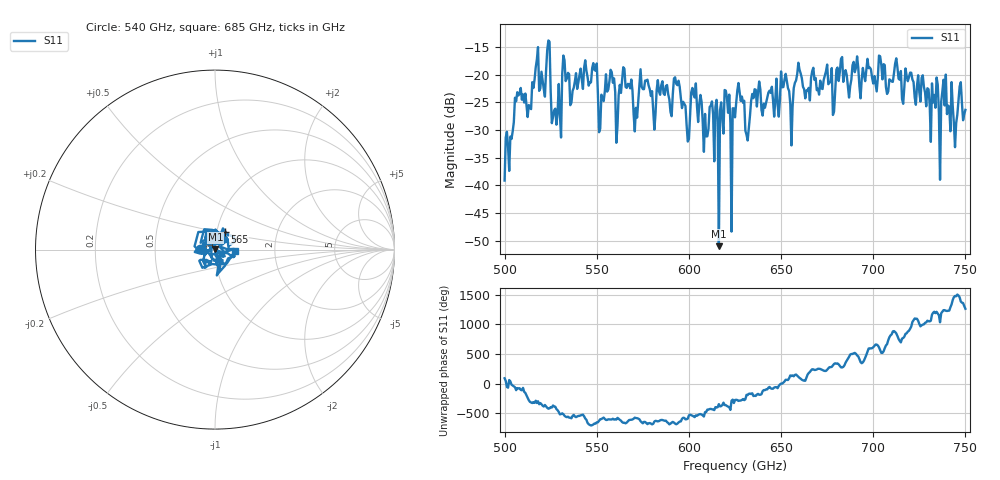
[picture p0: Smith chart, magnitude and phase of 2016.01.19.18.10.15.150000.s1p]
!Created with skrf (http://scikit-rf.org).
# GHz S RI R 50.0
!freq ReS11 ImS11
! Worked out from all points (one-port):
!   401 points, 500 GHz to 750 GHz, reference 50 ohm
!   lowest |S11| = -51.0 dB at 616.2 GHz (marker M1), VSWR 1.01, Z = 50.3 + j0.0777 ohm
!   |S11| at or under -10 dB: start of sweep to end of sweep
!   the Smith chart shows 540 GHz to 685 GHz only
!   S11 on the Smith chart (normalised r, x): 540 GHz: 0.84, +0.01; 565 GHz: 1.09, +0.22; 685 GHz: 1.25, -0.02
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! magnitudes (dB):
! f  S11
! 500 GHz  -39.1
! 506.9 GHz  -23.2
! 513.1 GHz  -25.5
! 516.9 GHz  -18.7
! 523.8 GHz  -13.8
! 526.9 GHz  -26.4
! 531.2 GHz  -19.9
! 540 GHz  -21.4
! 562.5 GHz  -21.8
! 565 GHz  -18.9
! 571.2 GHz  -26.0
! 574.4 GHz  -22.2
! 593.8 GHz  -21.9
! 599.4 GHz  -32.1
! 602.5 GHz  -23.6
! 616.2 GHz  -51.0
! 620.6 GHz  -24.1
! 623.8 GHz  -26.1
! 625 GHz  -27.7
! 631.9 GHz  -31.9
! 635 GHz  -24.3
! 651.2 GHz  -22.2
! 656.2 GHz  -25.7
! 659.4 GHz  -17.8
! 685 GHz  -19.2
! 687.5 GHz  -22.1
! 718.8 GHz  -21.2
! 750 GHz  -26.4
